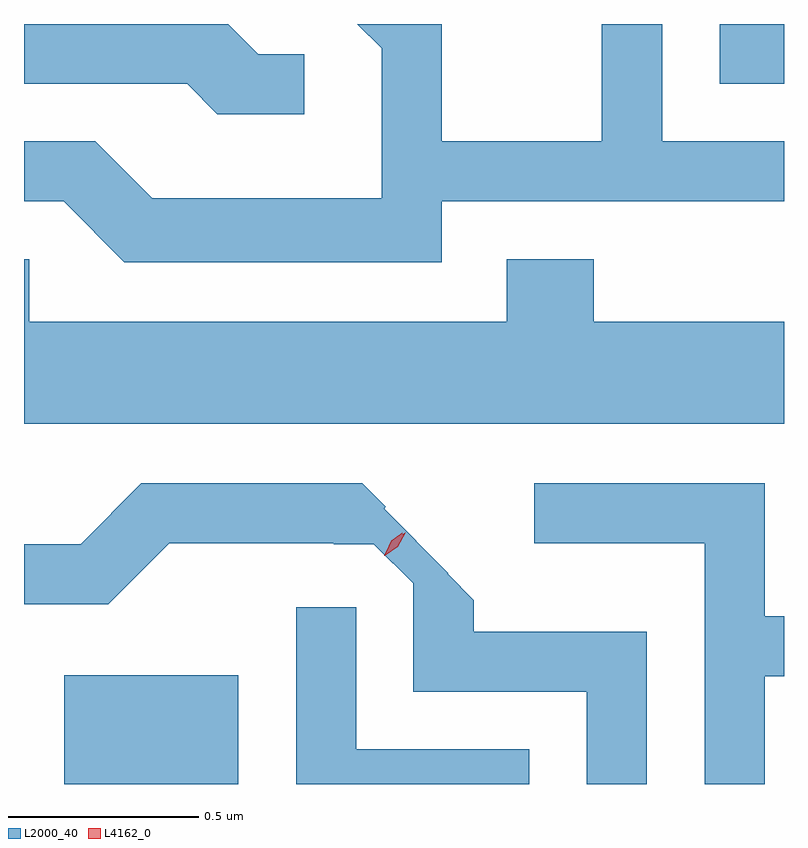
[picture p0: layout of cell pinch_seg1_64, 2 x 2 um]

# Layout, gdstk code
import gdstk
lib = gdstk.Library(unit=1e-6, precision=1e-09)
def R(c, l, rs):  # rectangles x0, y0, x1, y1
    for r in rs: c.add(gdstk.rectangle(r[:2], r[2:], *l))
def P(c, l, *ps):  # polygons
    for p in ps: c.add(gdstk.Polygon(p, *l))
L2000_40 = (2000, 40)
L4162_0 = (4162, 0)

pinch_seg1_64 = lib.new_cell('pinch_seg1_64')
R(pinch_seg1_64, L2000_40, [(1281.006,971.888,1281.464,972.174), (1282.731,973.731,1282.9,973.888)])
P(pinch_seg1_64, L2000_40, [(1281.638,973.809),(1281.517,973.809),(1281.438,973.888),(1280.9,973.888),(1280.9,973.731),(1281.329,973.731),(1281.409,973.651),(1281.638,973.651)],
  [(1281.999,973.421),(1282.9,973.421),(1282.9,973.579),(1282.579,973.579),(1282.579,973.888),(1282.421,973.888),(1282.421,973.579),(1281.999,973.579),(1281.999,973.888),(1281.777,973.888),(1281.841,973.824),(1281.841,973.429),(1281.237,973.429),(1281.087,973.579),(1280.9,973.579),(1280.9,973.421),(1281.004,973.421),(1281.164,973.261),(1281.999,973.261)],
  [(1282.9,973.104),(1282.399,973.104),(1282.399,973.269),(1282.171,973.269),(1282.171,973.104),(1280.914,973.104),(1280.914,973.269),(1280.9,973.269),(1280.9,972.836),(1282.9,972.836)],
  [(1282.849,972.171),(1282.9,972.171),(1282.9,972.329),(1282.849,972.329),(1282.849,972.679),(1282.243,972.679),(1282.243,972.521),(1282.691,972.521),(1282.691,971.888),(1282.849,971.888)],
  [(1282.539,972.289),(1282.084,972.289),(1282.084,972.372),(1282.015,972.441),(1282.017,972.443),(1281.848,972.612),(1281.852,972.617),(1281.79,972.679),(1281.209,972.679),(1281.049,972.519),(1280.9,972.519),(1280.9,972.361),(1281.122,972.361),(1281.282,972.521),(1281.715,972.521),(1281.715,972.519),(1281.821,972.519),(1281.924,972.416),(1281.924,972.131),(1282.381,972.131),(1282.381,971.888),(1282.539,971.888)],
  [(1282.229,971.979),(1281.774,971.979),(1281.774,972.353),(1281.616,972.353),(1281.616,971.888),(1282.229,971.888)])
P(pinch_seg1_64, L4162_0, [(1281.848,972.489),(1281.848,972.49),(1281.869,972.527),(1281.904,972.55),(1281.904,972.55),(1281.904,972.55),(1281.884,972.513),(1281.849,972.489)],
  [(1281.852,972.495),(1281.852,972.496),(1281.866,972.528),(1281.896,972.549),(1281.896,972.549),(1281.896,972.548),(1281.882,972.515),(1281.852,972.495)])

lib.write_gds('pinch_seg1_64.gds')
